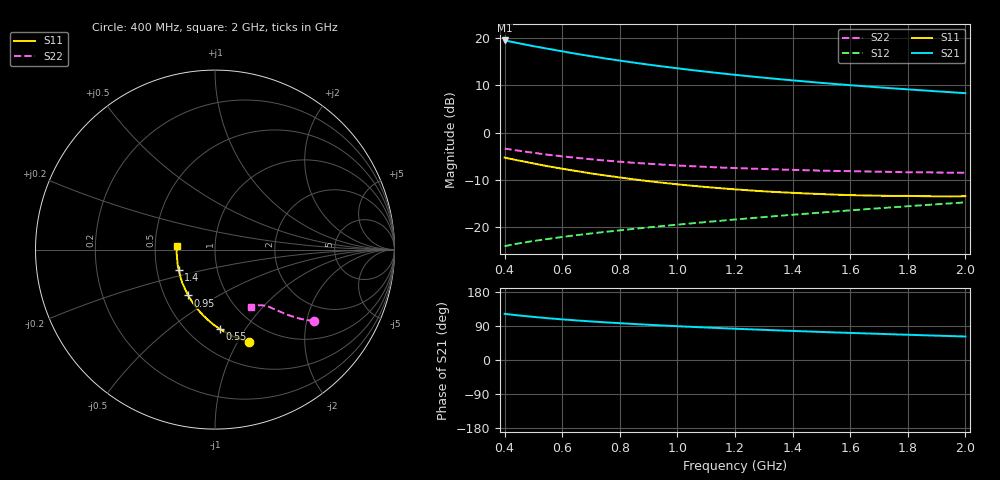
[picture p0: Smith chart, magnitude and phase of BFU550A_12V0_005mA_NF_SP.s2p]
! Filename:  P:\Prog\Test\Noise\ATS_data\Testdata_Net\06 Compressed Noise after Statistics\BFU550A_APG2013_35_C05_12p0V_005mA_NF_CM01_D.sf
! Date/Time: Tue 16/Apr/2013 15:11:29
! BFU550A_APG2013_35_C05_12p0V_1to35mA_NF_CM01_Bias4_R.sf
! Noise Parameter Data File
! BFU550A_APG2013_35_C05_12p0V_1to35mA_NF_CM01
! Date/time: Mon Apr 15 18:57:59 2013
! VAR V_out= 12.001000
! VAR I_out= 4.995000
! VAR V_in= 0.802100
! VAR I_in= 0.042500
! Device data file deembeded for feedlines and parallel
! Original file: \06 Compressed Noise after Statistics\BFU550A_APG2013_35_C05_12p0V_005mA_NF_CM01_R.sf
! Feed-files: PR017V01_150413_Feed1.s2p, PR017V01_150413_Feed2.s2p
! Parallel-file: PR017V01_150413_Par.s2p
# MHz S MA R 50
!  Freq-MHz  S11-mag  S11-arg  S21-mag  S21-arg  S12-mag  S12-arg  S22-mag  S22-arg
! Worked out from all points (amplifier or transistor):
!   37 points, 400 MHz to 2 GHz, reference 50 ohm
!   highest |S21| = 19.5 dB at 400 MHz (marker M1)
!   |S21| within 3 dB of that: start of sweep to 667.1 MHz
!   unconditionally stable (mu >= 1): 1.688 GHz to end of sweep
!   at 500 MHz: K = 0.59, MSG = 20.6 dB, |S12| = -22.9 dB
!   at 1.1 GHz: K = 0.91, MSG = 15.9 dB, |S12| = -18.9 dB
!   at 2 GHz: K = 1.01, MAG = 10.9 dB, |S12| = -14.7 dB
!   lowest NFmin = 0.63 dB at 433 MHz
!   S11 on the Smith chart (normalised r, x): 400 MHz: 0.76, -1.11; 550 MHz: 0.70, -0.77; 950 MHz: 0.66, -0.37; 1.4 GHz: 0.65, -0.15; 2 GHz: 0.65, +0.03
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400  0.5457 -70.0  9.452 121.8  0.0632 60.4  0.6795 -35.7
420  0.53 -72.4  9.194 120.0  0.06506 60.0  0.6654 -36.5
440  0.5146 -74.8  8.942 118.3  0.06678 59.6  0.6517 -37.1
480  0.4877 -79.2  8.454 115.3  0.07007 59.0  0.6259 -38.4
500  0.4738 -81.4  8.23 113.8  0.07167 58.7  0.6145 -38.9
550  0.4422 -86.7  7.726 110.2  0.0753 58.3  0.5854 -40.1
600  0.4164 -91.4  7.255 107.2  0.07903 58.1  0.5626 -41.1
650  0.3931 -95.9  6.824 104.4  0.08264 57.9  0.5426 -42.0
700  0.3715 -100.3  6.445 101.8  0.08608 57.9  0.5242 -42.7
750  0.3533 -104.5  6.095 99.4  0.08953 58.0  0.508 -43.3
800  0.3367 -108.5  5.787 97.1  0.09298 58.1  0.4943 -43.9
850  0.3213 -112.7  5.504 95.0  0.09638 58.3  0.4808 -44.5
950  0.2957 -120.2  5.014 91.0  0.1032 58.7  0.4598 -45.5
1050  0.2753 -127.5  4.598 87.4  0.1102 59.2  0.4427 -46.4
1100  0.2665 -131.1  4.418 85.7  0.1138 59.4  0.4356 -46.9
1200  0.2519 -138.1  4.095 82.6  0.121 59.8  0.4233 -47.9
1300  0.2402 -144.5  3.818 79.6  0.1283 60.2  0.4138 -48.9
1400  0.2317 -151.2  3.579 76.8  0.1357 60.5  0.4048 -50.0
1500  0.2247 -157.7  3.366 74.0  0.1433 60.7  0.3976 -51.2
1600  0.219 -163.4  3.182 71.5  0.1511 60.9  0.3924 -52.4
1750  0.2146 -172.2  2.944 67.8  0.163 61.0  0.385 -54.3
2000  0.2134 174.9  2.621 62.0  0.1835 60.9  0.377 -58.0
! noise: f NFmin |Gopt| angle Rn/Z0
400  0.6864  0.2289  17.37  0.1359
460  0.6655  0.1707  28.32  0.123
600  0.7476  0.1698  29.06  0.1288
800  0.7534  0.1527  59.74  0.1067
1000  0.7252  0.1745  73.25  0.1068
1200  0.7945  0.146  87.49  0.1053
1400  0.8271  0.1778  112.6  0.0881
1600  0.8872  0.152  139.1  0.0806
1800  0.7884  0.2576  146.6  0.0622
2000  0.8279  0.3418  147.4  0.0466
